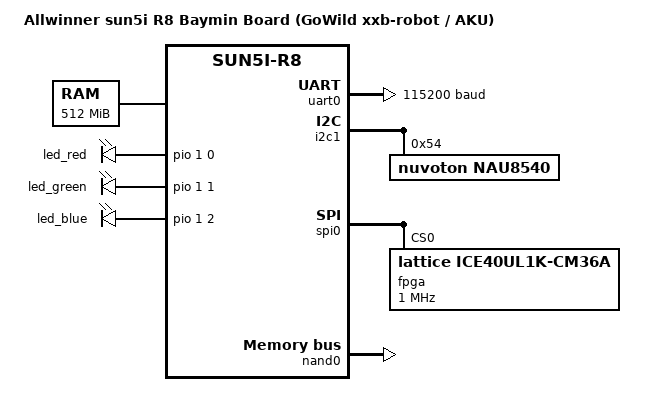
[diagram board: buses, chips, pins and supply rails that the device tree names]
/*
 * baymin_sun5i_reconstructed.dts
 *
 * 【重建文件 / RECONSTRUCTED — 非原厂产物】
 *
 * 目标设备: GoWild(狗尾草) 小小白 "xxb" 机器人 — AKU 版本
 *           OTA 包名 com.gowild.xxb.robot.aku.fw
 * SoC    : Allwinner sun5i (R8/A13 级), ARM Cortex-A8 + NEON
 * Board  : "Baymin" (BSP 工程名 tina_baymini)
 * Kernel : Linux 3.4.39 (OpenWrt/Tina Linux V1, Barrier Breaker r81)
 *
 * 重要前提:
 *   该固件【不使用 Device Tree】。它使用全志 3.4 BSP 的 sys_config.fex -> script.bin 机制。
 *   本文件是把固件中可确证的硬件信息，用 DTS 语法重新表达，
 *   目的是给阅读/移植提供一份结构化的板级说明，【不是】从固件里提取出来的原始设备树。
 *
 * 标注约定:
 *   [实测] 直接来自固件内字符串/ELF/文件内容的硬证据
 *   [推断] 无法从本次备份确定，按 sun5i/R8 + Baymin 常见接法给出的占位值 —— 必须校正
 */

/dts-v1/;

/ {
	model = "Allwinner sun5i R8 Baymin Board (GoWild xxb-robot / AKU)";   /* [实测] */
	compatible = "allwinner,sun5i-r8", "allwinner,sun5i";                /* [实测] */
	#address-cells = <1>;
	#size-cells = <1>;

	chosen {
		/* [实测] 来自 env 分区的 setargs_nand */
		bootargs = "console=ttyS0,115200 root=/dev/nandd rootwait init=/etc/preinit "
		           "ion_cma_512m=32m ion_cma_1g=176m ion_carveout_512m=32m "
		           "ion_carveout_1g=150m coherent_pool=4m loglevel=8";
	};

	cpus {
		#address-cells = <1>;
		#size-cells = <0>;
		cpu@0 {
			compatible = "arm,cortex-a8";        /* [实测] 构建路径 target-arm_cortex-a8+neon */
			device_type = "cpu";
			reg = <0>;
		};
	};

	memory {
		device_type = "memory";
		reg = <0x40000000 0x20000000>;           /* [推断] 512MB；DDR 由 Boot0/U-Boot 的 dram_para 决定 */
	};

	soc {
		compatible = "simple-bus";
		#address-cells = <1>;
		#size-cells = <1>;
		ranges;

		uart0: serial@01c28000 {
			compatible = "snps,dw-apb-uart";
			reg = <0x01c28000 0x400>;
			/* [实测] console=ttyS0,115200 */
			current-speed = <115200>;
			status = "okay";
		};

		/* [实测] 内核字符串 sun5i-i2c；libcae.so 使用 /dev/i2c-1 */
		i2c1: i2c@01c2b000 {
			compatible = "allwinner,sun5i-i2c";
			reg = <0x01c2b000 0x400>;
			#address-cells = <1>;
			#size-cells = <0>;
			status = "okay";

			/* [推断] 地址未从固件中取得，zhc_i2c_detect.ko 是运行时探测驱动 */
			nau8540: adc@54 {
				compatible = "nuvoton,nau8540";   /* [实测] 模块名 zhc_adc_nau8540.ko */
				reg = <0x54>;                     /* [推断] */
			};
		};

		/* [实测] 驱动 zhc_fpga_spi.ko / zhc_fpga_iCE40.ko，SPI 接 Lattice iCE40 */
		spi0: spi@01c05000 {
			compatible = "allwinner,sun5i-spi";
			reg = <0x01c05000 0x1000>;
			#address-cells = <1>;
			#size-cells = <0>;
			status = "okay";

			fpga: fpga@0 {
				compatible = "lattice,ice40ul1k-cm36a";  /* [实测] 位流头部 */
				reg = <0>;
				spi-max-frequency = <1000000>;           /* [推断] */
			};
		};

		/* [实测] env: root=/dev/nandd；内核字符串 sw_nand */
		nand0: nand@01c03000 {
			compatible = "allwinner,sun5i-nand";
			reg = <0x01c03000 0x1000>;
			status = "okay";
		};

		/* [实测] 内核字符串 timer0；zhc_power.ko 使用 AXP20x */
		pmu: pmu@34 {
			compatible = "x-powers,axp209";     /* [推断] 由 axp20_* 推断为 AXP20x 家族 */
			reg = <0x34>;                       /* [推断] */
		};
	};

	/*
	 * ===== 以下对应原厂 sys_config.fex 的各个 section =====
	 * 段名 [实测]：zhc_gpio.ko 读 [gpio_para]，zhc_led.ko 读 [led_para]，
	 *             zhc_fpga_iCE40.ko 读 [fpga_para]，zhc_power.ko 读 sys_config。
	 * 具体引脚号 [推断] —— 需要真实 fex 才能确定。
	 */

	leds {
		compatible = "gpio-leds";                  /* 对应 fex [led_para] */
		led_red   { label = "led_red";   gpios = <&pio 1 0 0>; };  /* [推断] */
		led_green { label = "led_green"; gpios = <&pio 1 1 0>; };  /* [推断] */
		led_blue  { label = "led_blue";  gpios = <&pio 1 2 0>; };  /* [推断] */
	};

	fpga_ctrl {
		/* 对应 fex [fpga_para]；名字 [实测]，编号 [推断] */
		spi_cs0    = <&pio 3 0 0>;   /* fpga_spi_cs0 */
		spi_cs1    = <&pio 3 1 0>;   /* fpga_spi_cs1 */
		crest_b    = <&pio 3 2 0>;   /* fpga_crest_b   (iCE40 CRESET_B) */
		cdone_irq  = <&pio 3 3 6>;   /* fpga_cdone_data_IRQ, IRQ_EINT16 */
	};

	power_rails {
		/* 对应 zhc_power.ko 的电源轨名 [实测]；GPIO 编号 [推断] */
		power_adc  = <&pio 4 0 0>;
		power_dcin = <&pio 4 1 0>;
		power_fpga = <&pio 4 2 0>;
		power_amp  = <&pio 4 3 0>;
		power_lcd  = <&pio 4 4 0>;
		power_led  = <&pio 4 5 0>;
		axp20_fpga = <&pmu>;
		axp20_led  = <&pmu>;
		axp20_ldo4 = <&pmu>;
		axp20_ldo5 = <&pmu>;
	};

	/* 直连接口（非 fex，按接口名 [实测]） */
	wireless {
		compatible = "brcm,bcm43438";             /* [实测] AP6212 / fw_bcm43438a0.bin */
		status = "okay";
	};

	display {
		/* [实测] boot-res 中 18 张 BMP 全为 128x160；应用帧缓冲 stride 256 */
		width  = <128>;
		height = <160>;
		stride = <256>;
	};
};
